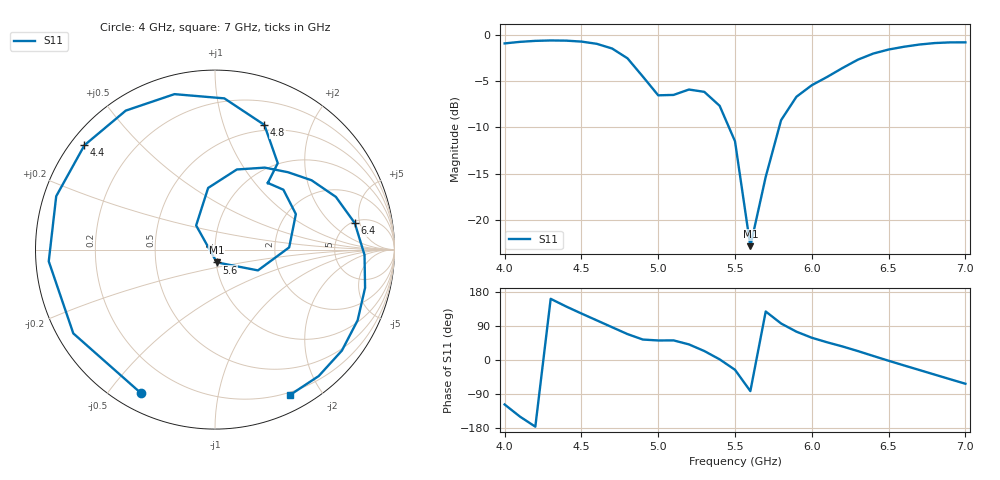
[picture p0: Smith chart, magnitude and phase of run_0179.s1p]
! Touchstone file exported from HFSS 2024.2.0
!  File:  C:/Users/wsak9/Desktop/Sim Fast/Widenad Patch/WP_AI_V1_sweep.aedt
!  Generated:  10:25:10 PM Oct 13, 2026
!  Design:  A1_model
!  Project:  WP_AI_V1_sweep
!  Setup:  Setup1
!  Solution:  Sweep
! Variables:
!  Air_gap = 2.99mm
!  Curve_Amp1 = 3.63
!  Curve_len1 = 1
!  Curve_pos = 11.065mm
!  Extra = 1.04mm
!  H_sub = 0.79mm
!  L_Patch = 18.13mm
!  L_Patch1 = 15.95mm
!  Sx = 3.83mm
!  Sy = 3.63mm
!  WS = 0.84mm
!  W_Patch = 18.95mm
!  W_Patch1 = 14.91mm
!Data is not renormalized
# GHz S MA
! Terminal data exported
! Port[1] = 1
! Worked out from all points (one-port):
!   31 points, 4 GHz to 7 GHz, reference per port
!   lowest |S11| = -22.9 dB at 5.6 GHz (marker M1), VSWR 1.16
!   |S11| at or under -10 dB: 5.461 GHz to 5.787 GHz (326.7 MHz wide, 5.81 % of centre)
!   S11 on the Smith chart (normalised r, x): 4 GHz: 0.07, -0.61; 4.4 GHz: 0.04, +0.35; 4.8 GHz: 0.44, +1.38; 5.6 GHz: 1.01, -0.14; 6.4 GHz: 5.26, +4.18; 7 GHz: 0.17, -1.63
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4  0.8997 -117.4
4.1  0.9172 -149.4
4.2  0.9285 -176.0
4.3  0.9333 161.4
4.4  0.9312 141.3
4.5  0.9202 122.7
4.6  0.8951 104.6
4.7  0.8442 86.5
4.8  0.7472 68.4
4.9  0.5951 54.0
5  0.4712 51.5
5.1  0.4735 51.8
5.2  0.5064 41.2
5.3  0.4921 23.7
5.4  0.4135 1.7
5.5  0.2659 -25.8
5.6  0.07194 -82.1
5.7  0.1707 128.0
5.8  0.3456 96.4
5.9  0.4628 74.7
6.1  0.5925 46.7
6.2  0.6622 35.7
6.3  0.7347 23.6
6.4  0.7928 10.7
6.5  0.8335 -2.0
6.7  0.887 -26.4
6.8  0.9036 -38.5
7  0.9114 -62.7
